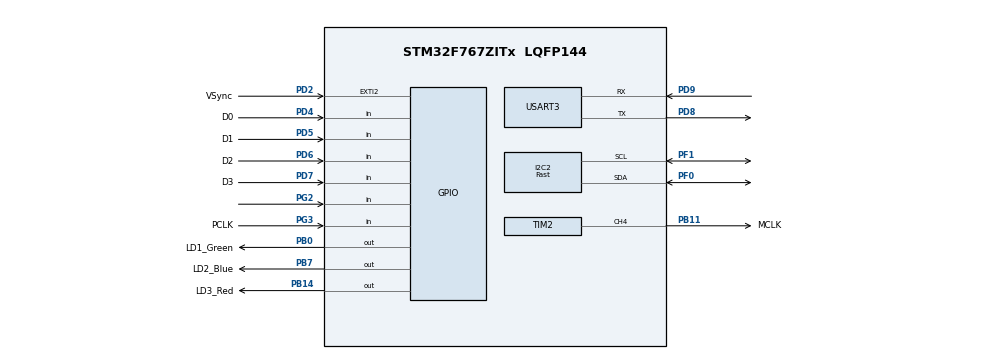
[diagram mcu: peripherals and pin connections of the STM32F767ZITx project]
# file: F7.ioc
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CORTEX_M7.default_mode_Activation=1
Dma.I2C2_RX.1.Direction=DMA_PERIPH_TO_MEMORY
Dma.I2C2_RX.1.FIFOMode=DMA_FIFOMODE_DISABLE
Dma.I2C2_RX.1.Instance=DMA1_Stream2
Dma.I2C2_RX.1.MemDataAlignment=DMA_MDATAALIGN_BYTE
Dma.I2C2_RX.1.MemInc=DMA_MINC_ENABLE
Dma.I2C2_RX.1.Mode=DMA_NORMAL
Dma.I2C2_RX.1.PeriphDataAlignment=DMA_PDATAALIGN_BYTE
Dma.I2C2_RX.1.PeriphInc=DMA_PINC_DISABLE
Dma.I2C2_RX.1.Priority=DMA_PRIORITY_LOW
Dma.I2C2_TX.0.Direction=DMA_MEMORY_TO_PERIPH
Dma.I2C2_TX.0.FIFOMode=DMA_FIFOMODE_DISABLE
Dma.I2C2_TX.0.Instance=DMA1_Stream4
Dma.I2C2_TX.0.MemDataAlignment=DMA_MDATAALIGN_BYTE
Dma.I2C2_TX.0.MemInc=DMA_MINC_ENABLE
Dma.I2C2_TX.0.Mode=DMA_NORMAL
Dma.I2C2_TX.0.PeriphDataAlignment=DMA_PDATAALIGN_BYTE
Dma.I2C2_TX.0.PeriphInc=DMA_PINC_DISABLE
Dma.I2C2_TX.0.Priority=DMA_PRIORITY_LOW
Dma.Request0=I2C2_TX
Dma.Request1=I2C2_RX
I2C2.I2C_Speed_Mode=I2C_Fast
I2C2.Timing=0x0010061A
Mcu.Family=STM32F7
Mcu.Name=STM32F767ZITx
Mcu.Package=LQFP144
NVIC.DMA1_Stream2_IRQn=true\:0\:0\:false\:false\:true\:false\:true\:true
NVIC.DMA1_Stream4_IRQn=true\:0\:0\:false\:false\:true\:false\:true\:true
NVIC.EXTI2_IRQn=true\:0\:0\:false\:false\:true\:true\:true\:true
NVIC.I2C2_ER_IRQn=true\:0\:0\:false\:false\:true\:true\:true\:true
NVIC.I2C2_EV_IRQn=true\:0\:0\:false\:false\:true\:true\:true\:true
NVIC.PriorityGroup=NVIC_PRIORITYGROUP_4
PB0.GPIO_Label=LD1_Green
PB0.Signal=GPIO_Output
PB11.GPIO_Label=MCLK
PB11.Signal=S_TIM2_CH4
PB14.GPIO_Label=LD3_Red
PB14.Signal=GPIO_Output
PB7.GPIO_Label=LD2_Blue
PB7.Signal=GPIO_Output
PD2.GPIO_Label=VSync
PD2.GPIO_PuPd=GPIO_PULLDOWN
PD2.Signal=GPXTI2
PD4.GPIO_Label=D0
PD4.GPIO_PuPd=GPIO_PULLDOWN
PD4.Signal=GPIO_Input
PD5.GPIO_Label=D1
PD5.GPIO_PuPd=GPIO_PULLDOWN
PD5.Signal=GPIO_Input
PD6.GPIO_Label=D2
PD6.GPIO_PuPd=GPIO_PULLDOWN
PD6.Signal=GPIO_Input
PD7.GPIO_Label=D3
PD7.GPIO_PuPd=GPIO_PULLDOWN
PD7.Signal=GPIO_Input
PD8.Mode=Asynchronous
PD8.Signal=USART3_TX
PD9.Mode=Asynchronous
PD9.Signal=USART3_RX
PF0.GPIO_Pu=GPIO_PULLUP
PF0.Mode=I2C
PF0.Signal=I2C2_SDA
PF1.GPIO_Pu=GPIO_PULLUP
PF1.Mode=I2C
PF1.Signal=I2C2_SCL
PG2.Signal=GPIO_Input
PG3.GPIO_Label=PCLK
PG3.GPIO_PuPd=GPIO_PULLDOWN
PG3.Signal=GPIO_Input
ProjectManager.HeapSize=0x200
ProjectManager.StackSize=0x400
ProjectManager.TargetToolchain=STM32CubeIDE
RCC.HSE_VALUE=25000000
RCC.HSI_VALUE=16000000
RCC.LSE_VALUE=32768
RCC.USBFreq_Value=96000000
RCC.VCOOutputFreq_Value=192000000
SH.S_TIM2_CH4.0=TIM2_CH4,PWM Generation4 CH4
TIM2.Channel-PWM\ Generation4\ CH4=TIM_CHANNEL_4
TIM2.Period=0
TIM2.Prescaler=8
USART3.VirtualMode-Asynchronous=VM_ASYNC
board=custom

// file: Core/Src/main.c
/* USER CODE BEGIN Header */
/**
  ******************************************************************************
  * @file           : main.c
  * @brief          : Main program body
  ******************************************************************************
  * @attention
  *
  * Copyright (c) 2024 STMicroelectronics.
  * All rights reserved.
  *
  * This software is licensed under terms that can be found in the LICENSE file
  * in the root directory of this software component.
  * If no LICENSE file comes with this software, it is provided AS-IS.
  *
  ******************************************************************************
  */
/* USER CODE END Header */
#include "main.h"

/* USER CODE BEGIN Includes */
#include "hm01b0.h"
#include "Blinking_LED.h"
/* USER CODE END Includes */

I2C_HandleTypeDef hi2c2;
DMA_HandleTypeDef hdma_i2c2_tx;
DMA_HandleTypeDef hdma_i2c2_rx;

TIM_HandleTypeDef htim2;

UART_HandleTypeDef huart3;

/* USER CODE BEGIN PV */
uint16_t reg_address= MODE_SELECT; // mode select is set at 0x0100
uint8_t reg_value=0;

/* USER CODE END PV */

void SystemClock_Config(void);
static void MPU_Config(void);
static void MX_GPIO_Init(void);
static void MX_DMA_Init(void);
static void MX_I2C2_Init(void);
static void MX_TIM2_Init(void);
static void MX_USART3_UART_Init(void);
/* USER CODE BEGIN PFP */
void HM01B0_Test(uint8_t value_to_write);
//void Blink_red_once(void);
//void Blink_red_twice(void);
#define PUTCHAR_PROTOTYPE int __io_putchar(int ch)

/* USER CODE END PFP */

/* USER CODE BEGIN 0 */

void HM01B0_Test(uint8_t value_to_write)
{
	HM01B0_WriteRegister(reg_address, value_to_write);
	HAL_Delay(200);
	uint8_t reg_value = HM01B0_ReadRegister(reg_address);

	// Optionally, process the read value
	if (reg_value == value_to_write)
	{
		// Successful read
		printf("Success: Reg value %x matched written value %x at address %x\r\n", reg_value, value_to_write, reg_address);
		HAL_Delay(100);
	}
	else
	{
		// Read value did not match written value
		printf("Error: Reg value %x did not match written value %x at address %x\r\n", reg_value, value_to_write, reg_address);
		HAL_Delay(100);

	}

	HAL_Delay(500); // Delay for readability
}

/* USER CODE END 0 */

int main(void)
{

  /* MPU Configuration--------------------------------------------------------*/
  MPU_Config();

  /* MCU Configuration--------------------------------------------------------*/

  /* Reset of all peripherals, Initializes the Flash interface and the Systick. */
  HAL_Init();

  /* Configure the system clock */
  SystemClock_Config();

  /* Initialize all configured peripherals */
  MX_GPIO_Init();
  MX_DMA_Init();
  MX_I2C2_Init();
  MX_TIM2_Init();
  MX_USART3_UART_Init();
  /* USER CODE BEGIN 2 */
<<<<<<< HEAD
  HM01B0_Init();
  HM01B0_WriteRegister(&hi2c2, IMG_ORIENTATION, 0xAB);
  uint8_t reg_value = HM01B0_ReadRegister(&hi2c2, IMG_ORIENTATION);
=======
  //uint8_t write_3 = 0x03;
  uint8_t count = 0;

  // '''''''''''''''''''''''''' 30/10/2024 ''''''''''''''''''''''''''''''''''''
  //HM01B0_Init();

>>>>>>> cc135242ae3ffa0fa7edc4281fbcc3bae39d0f95

  /* USER CODE END 2 */

  /* Infinite loop */
  /* USER CODE BEGIN WHILE */

  printf("\033[2J\033[H");
  HAL_Delay(500);
  while (count<1)
  {
	  printf("\r\n======================================================\r\n");

	  //Writing TEST
	  HM01B0_WriteRegister(reg_address,0x03);
	  HAL_Delay(100);
	  //READING TEST
	  uint8_t reg_value = HM01B0_ReadRegister(reg_address);
	  printf("\r\nThe reg_address = 0x%04x , and value = 0x%02x ",reg_address,reg_value);
	  HAL_Delay(1000);

	  //Writing then reading I2C_clear
	  HM01B0_WriteRegister(I2C_CLEAR,0x01);
	  printf("\r\nI2C_Clear is written");
	  HAL_Delay(100);

	  reg_value = HM01B0_ReadRegister(reg_address);
	  printf("\r\nThe reg_address = 0x%04x , and value = 0x%02x ",reg_address,reg_value);
	  HAL_Delay(1000);

	  printf("\r\nCount is %d",count++);
	  printf("\r\n\n");

//  // '''''''''''''''''''''''''' 30/10/2024 ''''''''''''''''''''''''''''''''''''
    /* USER CODE END WHILE */

  }
}

void SystemClock_Config(void)
{
  RCC_OscInitTypeDef RCC_OscInitStruct = {0};
  RCC_ClkInitTypeDef RCC_ClkInitStruct = {0};

  /** Configure the main internal regulator output voltage
  */
  __HAL_RCC_PWR_CLK_ENABLE();
  __HAL_PWR_VOLTAGESCALING_CONFIG(PWR_REGULATOR_VOLTAGE_SCALE3);

  /** Initializes the RCC Oscillators according to the specified parameters
  * in the RCC_OscInitTypeDef structure.
  */
  RCC_OscInitStruct.OscillatorType = RCC_OSCILLATORTYPE_HSI;
  RCC_OscInitStruct.HSIState = RCC_HSI_ON;
  RCC_OscInitStruct.HSICalibrationValue = RCC_HSICALIBRATION_DEFAULT;
  RCC_OscInitStruct.PLL.PLLState = RCC_PLL_NONE;
  if (HAL_RCC_OscConfig(&RCC_OscInitStruct) != HAL_OK)
  {
    Error_Handler();
  }

  /** Initializes the CPU, AHB and APB buses clocks
  */
  RCC_ClkInitStruct.ClockType = RCC_CLOCKTYPE_HCLK|RCC_CLOCKTYPE_SYSCLK
                              |RCC_CLOCKTYPE_PCLK1|RCC_CLOCKTYPE_PCLK2;
  RCC_ClkInitStruct.SYSCLKSource = RCC_SYSCLKSOURCE_HSI;
  RCC_ClkInitStruct.AHBCLKDivider = RCC_SYSCLK_DIV1;
  RCC_ClkInitStruct.APB1CLKDivider = RCC_HCLK_DIV1;
  RCC_ClkInitStruct.APB2CLKDivider = RCC_HCLK_DIV1;

  if (HAL_RCC_ClockConfig(&RCC_ClkInitStruct, FLASH_LATENCY_0) != HAL_OK)
  {
    Error_Handler();
  }
}

static void MX_I2C2_Init(void)
{

  hi2c2.Instance = I2C2;
  hi2c2.Init.Timing = 0x0010061A; // 400 KHZ
  hi2c2.Init.OwnAddress1 = 0;
  hi2c2.Init.AddressingMode = I2C_ADDRESSINGMODE_7BIT;
  hi2c2.Init.DualAddressMode = I2C_DUALADDRESS_DISABLE;
  hi2c2.Init.OwnAddress2 = 0;
  hi2c2.Init.OwnAddress2Masks = I2C_OA2_NOMASK;
  hi2c2.Init.GeneralCallMode = I2C_GENERALCALL_DISABLE;
  hi2c2.Init.NoStretchMode = I2C_NOSTRETCH_DISABLE;
  if (HAL_I2C_Init(&hi2c2) != HAL_OK)
  {
    Error_Handler();
  }

  /** Configure Analogue filter
  */
  if (HAL_I2CEx_ConfigAnalogFilter(&hi2c2, I2C_ANALOGFILTER_ENABLE) != HAL_OK)
  {
    Error_Handler();
  }

  /** Configure Digital filter
  */
  if (HAL_I2CEx_ConfigDigitalFilter(&hi2c2, 0) != HAL_OK)
  {
    Error_Handler();
  }

}

static void MX_TIM2_Init(void)
{

  TIM_MasterConfigTypeDef sMasterConfig = {0};
  TIM_OC_InitTypeDef sConfigOC = {0};

  htim2.Instance = TIM2;
  htim2.Init.Prescaler = 8;
  htim2.Init.CounterMode = TIM_COUNTERMODE_UP;
  htim2.Init.Period = 0;
  htim2.Init.ClockDivision = TIM_CLOCKDIVISION_DIV1;
  htim2.Init.AutoReloadPreload = TIM_AUTORELOAD_PRELOAD_DISABLE;
  if (HAL_TIM_PWM_Init(&htim2) != HAL_OK)
  {
    Error_Handler();
  }
  sMasterConfig.MasterOutputTrigger = TIM_TRGO_RESET;
  sMasterConfig.MasterSlaveMode = TIM_MASTERSLAVEMODE_DISABLE;
  if (HAL_TIMEx_MasterConfigSynchronization(&htim2, &sMasterConfig) != HAL_OK)
  {
    Error_Handler();
  }
  sConfigOC.OCMode = TIM_OCMODE_PWM1;
  sConfigOC.Pulse = 0;
  sConfigOC.OCPolarity = TIM_OCPOLARITY_HIGH;
  sConfigOC.OCFastMode = TIM_OCFAST_DISABLE;
  if (HAL_TIM_PWM_ConfigChannel(&htim2, &sConfigOC, TIM_CHANNEL_4) != HAL_OK)
  {
    Error_Handler();
  }
  HAL_TIM_MspPostInit(&htim2);

}

static void MX_USART3_UART_Init(void)
{

  huart3.Instance = USART3;
  huart3.Init.BaudRate = 115200;
  huart3.Init.WordLength = UART_WORDLENGTH_8B;
  huart3.Init.StopBits = UART_STOPBITS_1;
  huart3.Init.Parity = UART_PARITY_NONE;
  huart3.Init.Mode = UART_MODE_TX_RX;
  huart3.Init.HwFlowCtl = UART_HWCONTROL_NONE;
  huart3.Init.OverSampling = UART_OVERSAMPLING_16;
  huart3.Init.OneBitSampling = UART_ONE_BIT_SAMPLE_DISABLE;
  huart3.AdvancedInit.AdvFeatureInit = UART_ADVFEATURE_NO_INIT;
  if (HAL_UART_Init(&huart3) != HAL_OK)
  {
    Error_Handler();
  }

}

static void MX_DMA_Init(void)
{

  /* DMA controller clock enable */
  __HAL_RCC_DMA1_CLK_ENABLE();

  /* DMA interrupt init */
  /* DMA1_Stream2_IRQn interrupt configuration */
  HAL_NVIC_SetPriority(DMA1_Stream2_IRQn, 0, 0);
  HAL_NVIC_EnableIRQ(DMA1_Stream2_IRQn);
  /* DMA1_Stream4_IRQn interrupt configuration */
  HAL_NVIC_SetPriority(DMA1_Stream4_IRQn, 0, 0);
  HAL_NVIC_EnableIRQ(DMA1_Stream4_IRQn);

}

static void MX_GPIO_Init(void)
{
  GPIO_InitTypeDef GPIO_InitStruct = {0};

  /* GPIO Ports Clock Enable */
  __HAL_RCC_GPIOF_CLK_ENABLE();
  __HAL_RCC_GPIOB_CLK_ENABLE();
  __HAL_RCC_GPIOD_CLK_ENABLE();
  __HAL_RCC_GPIOG_CLK_ENABLE();

  /*Configure GPIO pin Output Level */
  HAL_GPIO_WritePin(GPIOB, LD1_Green_Pin|LD3_Red_Pin|LD2_Blue_Pin, GPIO_PIN_RESET);

  /*Configure GPIO pins : LD1_Green_Pin LD3_Red_Pin LD2_Blue_Pin */
  GPIO_InitStruct.Pin = LD1_Green_Pin|LD3_Red_Pin|LD2_Blue_Pin;
  GPIO_InitStruct.Mode = GPIO_MODE_OUTPUT_PP;
  GPIO_InitStruct.Pull = GPIO_NOPULL;
  GPIO_InitStruct.Speed = GPIO_SPEED_FREQ_LOW;
  HAL_GPIO_Init(GPIOB, &GPIO_InitStruct);

  /*Configure GPIO pin : PG2 */
  GPIO_InitStruct.Pin = GPIO_PIN_2;
  GPIO_InitStruct.Mode = GPIO_MODE_INPUT;
  GPIO_InitStruct.Pull = GPIO_NOPULL;
  HAL_GPIO_Init(GPIOG, &GPIO_InitStruct);

  /*Configure GPIO pin : PCLK_Pin */
  GPIO_InitStruct.Pin = PCLK_Pin;
  GPIO_InitStruct.Mode = GPIO_MODE_INPUT;
  GPIO_InitStruct.Pull = GPIO_PULLDOWN;
  HAL_GPIO_Init(PCLK_GPIO_Port, &GPIO_InitStruct);

  /*Configure GPIO pin : VSync_Pin */
  GPIO_InitStruct.Pin = VSync_Pin;
  GPIO_InitStruct.Mode = GPIO_MODE_IT_RISING;
  GPIO_InitStruct.Pull = GPIO_PULLDOWN;
  HAL_GPIO_Init(VSync_GPIO_Port, &GPIO_InitStruct);

  /*Configure GPIO pins : D0_Pin D1_Pin D2_Pin D3_Pin */
  GPIO_InitStruct.Pin = D0_Pin|D1_Pin|D2_Pin|D3_Pin;
  GPIO_InitStruct.Mode = GPIO_MODE_INPUT;
  GPIO_InitStruct.Pull = GPIO_PULLDOWN;
  HAL_GPIO_Init(GPIOD, &GPIO_InitStruct);

  /* EXTI interrupt init*/
  HAL_NVIC_SetPriority(EXTI2_IRQn, 0, 0);
  HAL_NVIC_EnableIRQ(EXTI2_IRQn);

}

 /* MPU Configuration */

void MPU_Config(void)
{
  MPU_Region_InitTypeDef MPU_InitStruct = {0};

  /* Disables the MPU */
  HAL_MPU_Disable();

  /** Initializes and configures the Region and the memory to be protected
  */
  MPU_InitStruct.Enable = MPU_REGION_ENABLE;
  MPU_InitStruct.Number = MPU_REGION_NUMBER0;
  MPU_InitStruct.BaseAddress = 0x0;
  MPU_InitStruct.Size = MPU_REGION_SIZE_4GB;
  MPU_InitStruct.SubRegionDisable = 0x87;
  MPU_InitStruct.TypeExtField = MPU_TEX_LEVEL0;
  MPU_InitStruct.AccessPermission = MPU_REGION_NO_ACCESS;
  MPU_InitStruct.DisableExec = MPU_INSTRUCTION_ACCESS_DISABLE;
  MPU_InitStruct.IsShareable = MPU_ACCESS_SHAREABLE;
  MPU_InitStruct.IsCacheable = MPU_ACCESS_NOT_CACHEABLE;
  MPU_InitStruct.IsBufferable = MPU_ACCESS_NOT_BUFFERABLE;

  HAL_MPU_ConfigRegion(&MPU_InitStruct);
  /* Enables the MPU */
  HAL_MPU_Enable(MPU_PRIVILEGED_DEFAULT);

}

void Error_Handler(void)
{
  /* USER CODE BEGIN Error_Handler_Debug */
  /* User can add his own implementation to report the HAL error return state */
  __disable_irq();
  while (1)
  {
	  HAL_Delay(1000); // Delay for 1 second
	  HAL_GPIO_TogglePin(GPIOB, LD3_Red_Pin); // Toggle the LED
  }
  /* USER CODE END Error_Handler_Debug */
}
